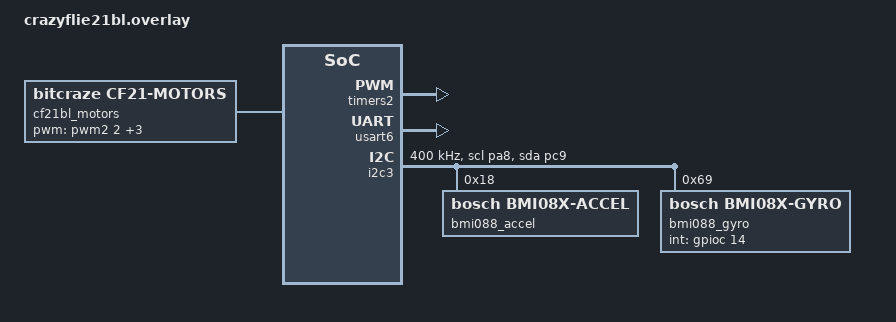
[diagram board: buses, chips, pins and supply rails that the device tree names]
/*
 * crazyflie21bl.overlay — Tapestry DTS overlay for Crazyflie 2.1 brushless
 *
 * Applied on top of tapestry-scr-hw/boards/bitcraze/crazyflie21bl/crazyflie21bl.dts.
 *
 * Hardware: STM32F405RGT6, 168 MHz, FPU
 * Motor ESC protocol: RC PWM at 400 Hz (2500 µs period)
 *   1000 µs = armed / idle
 *   2000 µs = full throttle
 *
 * Motor layout (from above):
 *   M4(CW)  M1(CCW)   ← front
 *   M3(CW)  M2(CCW)   ← back
 *
 * Pin assignments verified against CF2.1 brushless schematic Rev.G (2024-08-12):
 *   https://www.bitcraze.io/documentation/hardware/crazyflie_2_1_brushless/
 *
 * Motor → GPIO → TIM2 channel (from Bitcraze motorMapCF21Brushless in motors_def.c):
 *   M1 (front-right CCW) → PA1  → TIM2_CH2
 *   M2 (back-right  CCW) → PB11 → TIM2_CH4
 *   M3 (back-left   CW)  → PA15 → TIM2_CH1  (PA15 via JTAG-disable remap)
 *   M4 (front-left  CW)  → PB10 → TIM2_CH3
 *
 * ESC protocol: factory firmware uses DSHOT; RC PWM works if ESCs are
 * reconfigured via BLHeli Suite to standard PWM mode.
 *
 * nRF51 UART → USART6: PC6 = STM32 TX (NRF_RX net), PC7 = STM32 RX (NRF_TX net).
 * LED → PC1 (LED_GREEN_L), active-low (common-anode, STM32 sinks cathode).
 * ESC reset → PC15, open-drain active-low, shared across all four ESCs.
 *   STM32 reset leaves PC15 floating → ESCs held in reset.
 *   cf21bl_init() drives it HIGH (open-drain deassert) to release ESCs.
 *   Source: motors.c / hasPC15ESCReset in Bitcraze crazyflie-firmware.
 */

/ {
	aliases {
		cf21bl-motors = &cf21bl_motors;
	};

	cf21bl_motors: cf21-motors {
		compatible = "bitcraze,cf21-motors";
		/*
		 * Four ESC PWM channels in M1..M4 order.
		 * Period = 2 500 000 ns (400 Hz).  All channels on TIM2.
		 * Channel numbers are 1-based (Zephyr STM32 PWM driver convention).
		 */
		pwms = <&pwm2 2 2500000 PWM_POLARITY_NORMAL>,  /* M1 front-right CCW  TIM2_CH2 PA1  */
		       <&pwm2 4 2500000 PWM_POLARITY_NORMAL>,  /* M2 back-right  CCW  TIM2_CH4 PB11 */
		       <&pwm2 1 2500000 PWM_POLARITY_NORMAL>,  /* M3 back-left   CW   TIM2_CH1 PA15 */
		       <&pwm2 3 2500000 PWM_POLARITY_NORMAL>;  /* M4 front-left  CW   TIM2_CH3 PB10 */
	};
};

&timers2 {
	status = "okay";

	pwm2: pwm {
		status = "okay";
		pinctrl-0 = <
			&tim2_ch1_pa15   /* M3 back-left   — PA15 via JTAG-disable remap (CF21BL firmware motorMapCF21Brushless) */
			&tim2_ch2_pa1    /* M1 front-right — PA1  (CF21BL firmware motorMapCF21Brushless) */
			&tim2_ch3_pb10   /* M4 front-left  — PB10 (CF21BL firmware motorMapCF21Brushless) */
			&tim2_ch4_pb11   /* M2 back-right  — PB11 (CF21BL firmware motorMapCF21Brushless) */
		>;
		pinctrl-names = "default";
	};
};

/*
 * nRF51822 BLE radio co-processor — USART6 PC6/PC7 verified Rev.G.
 *
 * Net names from STM32 perspective: PC6 drives NRF_RX (nRF51 receive),
 * PC7 receives NRF_TX (nRF51 transmit).  Maps to USART6_TX/RX (AF8).
 *
 * PREREQUISITE to enable BLE: reflash nRF51 with HCI firmware (Nordic
 * hci_uart sample or Zephyr hci_uart app), then uncomment CONFIG_BT
 * block in tapestry-scr-hw/boards/crazyflie21bl.conf.
 */
&usart6 {
	status = "okay";
};

/*
 * BMI088 IMU (gyro + accel) on I2C3 — pin assignments confirmed against this
 * brushless board's actual schematic (2026-06-11), which differs from the
 * stock CF2.1 SPI wiring originally assumed (that schematic's PB13/14/15
 * are NRF_SWCLK / STM debug pins on this board, not BMI088 SPI):
 *   I2C3: SCL=PA8 (IMU_SCL), SDA=PC9 (IMU_SDA)
 *   CSB1/CSB2 (accel/gyro chip-select) not connected — relies on BMI088
 *   internal pull-up to default to I2C mode.
 *   Gyro INT3 (data-ready, ~1 kHz) = PC14, Accel INT1 = PC13 (not yet wired).
 *
 * I2C addresses: SDO1 (accel address pin) tied to GND -> accel addr 0x18.
 * Gyro confirmed at 0x69 (SDO2 pulled high on this board, opposite of the
 * accel's SDO1=GND), not the BMI088 default 0x68.
 *
 * accel-fs: this chip is a BMI088 (not BMI085) — the in-tree bmi08x driver's
 * BMI088 range table only has {3,6,12,24} g.  Requesting 8 would silently
 * select the ±12g hardware range while computing the conversion scale for
 * ±8g (a 1.5x error in every accel reading).  Use 12 directly so the
 * configured range and the scale factor agree (closest available to the
 * nominal ±8g starting point).
 *
 * gyro-hz "1000_116" = BW 116 Hz / ODR 1000 Hz, matching stock firmware and
 * giving the ~1 kHz INT3 data-ready interrupt the stabilizer loop is slaved
 * to.  accel-hz "1600" and accel-fs <24> match CF21BL stock firmware
 * (BMI088_ACCEL_ODR_1600_HZ, SENSORS_BMI088_ACCEL_CFG=24).  1600 Hz ODR
 * ensures a fresh accel sample is available every 1 kHz loop iteration.
 * 24 G range matches stock; 12 G gave better resolution but risked saturation
 * during aggressive maneuvers.
 */
&i2c3 {
	pinctrl-0 = <&i2c3_scl_pa8 &i2c3_sda_pc9>;
	pinctrl-names = "default";
	clock-frequency = <I2C_BITRATE_FAST>;
	status = "okay";

	bmi088_accel: bmi088-accel@18 {
		compatible = "bosch,bmi08x-accel";
		reg = <0x18>;
		accel-hz = "1600";
		accel-fs = <24>;
	};

	bmi088_gyro: bmi088-gyro@69 {
		compatible = "bosch,bmi08x-gyro";
		reg = <0x69>;
		int-gpios = <&gpioc 14 GPIO_ACTIVE_HIGH>;
		/* INT3 = data-ready, active-high push-pull */
		int3-4-map-io = <0x01>;
		int3-4-conf-io = <0x01>;
		gyro-fs = <2000>;
		gyro-hz = "1000_116";
	};
};
